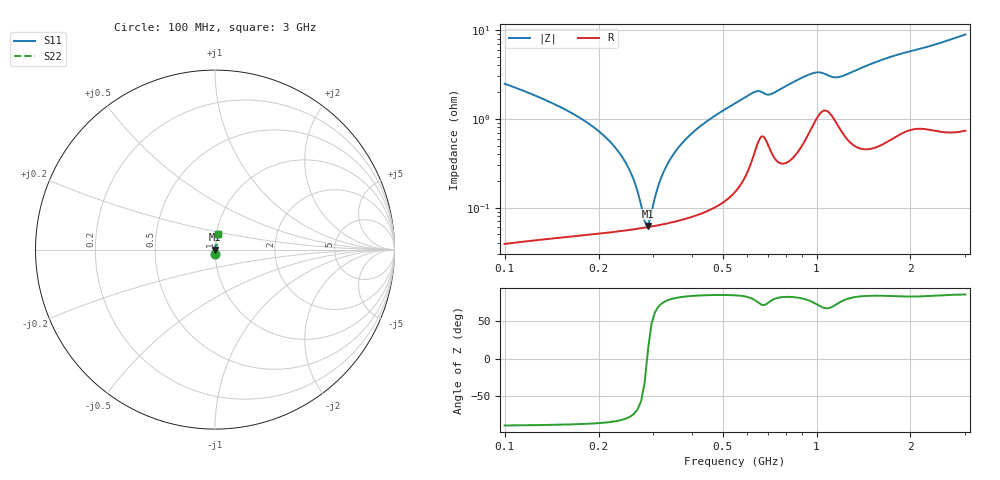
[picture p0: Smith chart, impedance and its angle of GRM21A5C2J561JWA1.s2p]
!Murata Part Number: GRM21A5C2J561JWA1
!These Parameters are Measured in Series Mode Connection
!Data Generated on Mar 30, 2021
!  o--ll--o
!Port1  Port2
!  o------o
!Operation Temp=25[degC], DC Bias Voltage=0[V]
!Freq. Start=100[MHz] Stop=3[GHz] 401[Steps]
# Hz S RI R 50
!Freq.(Hz) S11(Real) S11(Imag) S21(Real) S21(Imag) S12(Real) S12(Imag) S22(Real) S22(Imag)
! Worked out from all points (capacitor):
!   401 points, 100 MHz to 3 GHz, reference 50 ohm
!   read as one part in series: C = 562 pF near 114.5 MHz
!   lowest |Z| = 62.2 mohm at 288.5 MHz (marker M1)
!   series resonance near 286.4 MHz, so ESL is about 550 pH
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1e8  0.00101 -0.0248  0.999 0.0248  0.999 0.0248  0.00101 -0.0248
1.725e8  0.000591 -0.0105  0.9994 0.0105  0.9994 0.0105  0.000591 -0.0105
2.16e8  0.000557 -0.00567  0.9994 0.00567  0.9994 0.00567  0.000557 -0.00567
2.45e8  0.000564 -0.00312  0.9994 0.00312  0.9994 0.00312  0.000564 -0.00312
2.74e8  0.000587 -0.000883  0.9994 0.000883  0.9994 0.000883  0.000587 -0.000883
2.8125e8  0.000595 -0.000363  0.9994 0.000363  0.9994 0.000363  0.000595 -0.000363
2.885e8  0.000604 0.000145  0.9994 -0.000145  0.9994 -0.000145  0.000604 0.000145
2.9575e8  0.000614 0.000641  0.9994 -0.000641  0.9994 -0.000641  0.000614 0.000641
3.175e8  0.000647 0.00207  0.9994 -0.00207  0.9994 -0.00207  0.000647 0.00207
3.32e8  0.000673 0.00298  0.9993 -0.00298  0.9993 -0.00298  0.000673 0.00298
3.755e8  0.000769 0.00554  0.9992 -0.00554  0.9992 -0.00554  0.000769 0.00554
4.5525e8  0.00104 0.00987  0.999 -0.00987  0.999 -0.00987  0.00104 0.00987
5.8575e8  0.00239 0.017  0.9976 -0.017  0.9976 -0.017  0.00239 0.017
6.4375e8  0.00536 0.0197  0.9946 -0.0197  0.9946 -0.0197  0.00536 0.0197
7.1625e8  0.00451 0.0184  0.9955 -0.0184  0.9955 -0.0184  0.00451 0.0184
9.555e8  0.00831 0.0306  0.9917 -0.0306  0.9917 -0.0306  0.00831 0.0306
1.0715e9  0.0131 0.0285  0.9869 -0.0285  0.9869 -0.0285  0.0131 0.0285
1.18025e9  0.00873 0.028  0.9913 -0.028  0.9913 -0.028  0.00873 0.028
1.55e9  0.00661 0.0429  0.9934 -0.0429  0.9934 -0.0429  0.00661 0.0429
2.03575e9  0.0109 0.0572  0.9891 -0.0572  0.9891 -0.0572  0.0109 0.0572
2.5215e9  0.0122 0.0709  0.9878 -0.0709  0.9878 -0.0709  0.0122 0.0709
3e9  0.015 0.0869  0.985 -0.0869  0.985 -0.0869  0.015 0.0869
